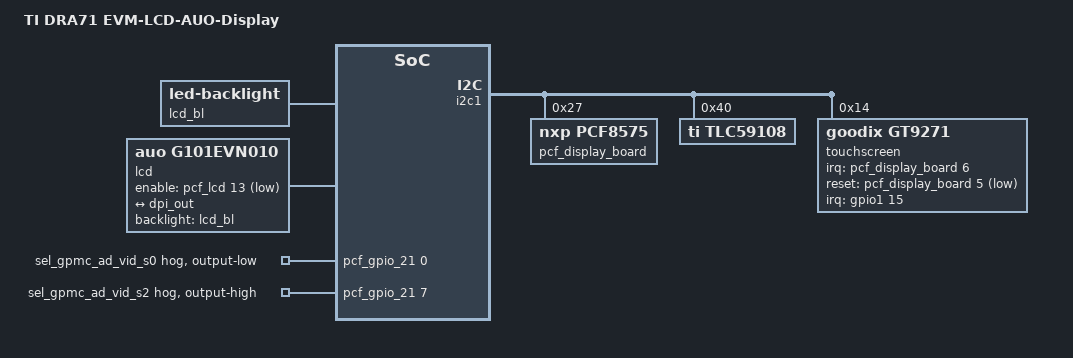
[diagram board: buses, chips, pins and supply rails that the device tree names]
/dts-v1/;
/plugin/;
#include <dt-bindings/interrupt-controller/irq.h>
#include <dt-bindings/gpio/gpio.h>

/ {
  fragment@101 {
	target-path = "/";

	__overlay__ {
		model = "TI DRA71 EVM-LCD-AUO-Display";

		aliases {
			display0 = "/display";
			display1 = "/connector";
		};

		lcd_bl: backlight {
			compatible = "led-backlight";
			leds = <&backlight_led>;
			brightness-levels = <0 2 38 74 110 146 182 218 256>;
			default-brightness = <8>;
		};

		lcd: display {
			compatible = "auo,g101evn010";
			enable-gpios = <&pcf_lcd 13 GPIO_ACTIVE_LOW>;
			label = "lcd";
			backlight = <&lcd_bl>;

			port {
				lcd_in: endpoint {
					remote-endpoint = <&dpi_out>;
				};
			};
		};
	};
  };
};

&pcf_gpio_21 {
	p0 {
		gpio-hog;
		gpios = <0 GPIO_ACTIVE_HIGH>;
		line-name = "sel_gpmc_ad_vid_s0";
		output-low;
	};

	p7 {
		gpio-hog;
		gpios = <7 GPIO_ACTIVE_HIGH>;
		line-name = "sel_gpmc_ad_vid_s2";
		output-high;
	};
};

&i2c1 {
	#address-cells = <1>;
	#size-cells = <0>;

	pcf_display_board: gpio@27 {
		compatible = "nxp,pcf8575";
		#gpio-cells = <2>;
		gpio-controller;
		reg = <0x27>;

		backlight-hog {
			gpio-hog;
			gpios = <0 GPIO_ACTIVE_LOW>;
			line-name = "enable_backlight";
			output-high;
		};
	};

	tlc59108@40 {
		compatible = "ti,tlc59108";
		#address-cells = <1>;
		#size-cells = <0>;
		reg = <0x40>;

		backlight_led: bl@2 {
			label = "backlight";
			reg = <0x2>;
		};
	};

	touchscreen: goodix-gt9271@14 {
		compatible = "goodix,gt9271";
		interrupt-parent = <&gpio1>;
		interrupts = <15 IRQ_TYPE_LEVEL_HIGH>;
		irq-gpios = <&pcf_display_board 6 GPIO_ACTIVE_HIGH>;
		reg = <0x14>;
		reset-gpios = <&pcf_display_board 5 GPIO_ACTIVE_LOW>;
		status = "okay";
		touchscreen-inverted-y;
		touchscreen-size-x = <1280>;
		touchscreen-size-y = <800>;
	};
};

&dss {
	ports {
		#address-cells = <1>;
		#size-cells = <0>;

		dss_port: port@2 {
			reg = <2>;

			dpi_out: endpoint {
				data-lines = <24>;
				remote-endpoint = <&lcd_in>;
			};
		};
	};
};
